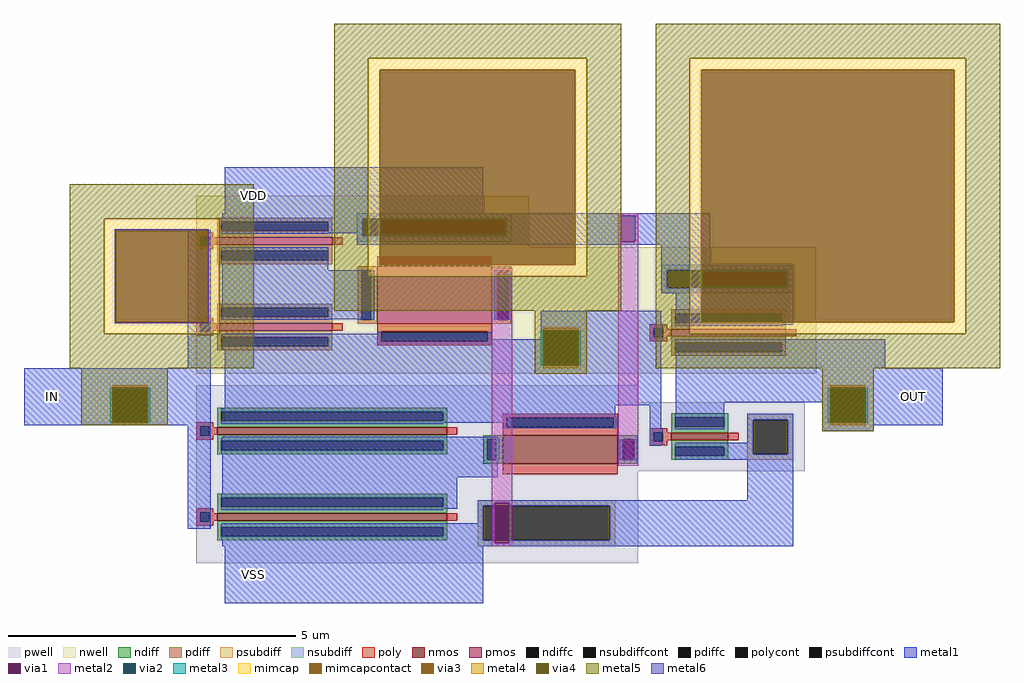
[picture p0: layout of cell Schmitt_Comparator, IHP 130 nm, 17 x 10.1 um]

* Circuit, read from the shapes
.subckt Schmitt_Comparator VSS VDD IN OUT
XM1 XM3/D IN VSS VSS sg13_lv_nmos w=4u l=0.13u
XM2 XC2/C2 IN XM3/D VSS sg13_lv_nmos w=4u l=0.13u
XM3 VDD XC2/C2 XM3/D VSS sg13_lv_nmos w=0.5u l=2u
XM4 OUT XC2/C2 VSS VSS sg13_lv_nmos w=1u l=0.13u
XM5 XM1/D IN XC2/C2 VDD sg13_lv_pmos w=2u l=0.13u
XM6 VDD IN XM1/D VDD sg13_lv_pmos w=2u l=0.13u
XM7 VSS XC2/C2 XM1/D VDD sg13_lv_pmos w=1u l=2u
XM8 VDD XC2/C2 OUT VDD sg13_lv_pmos w=2u l=0.13u
XC9 XC1/C1 IN cap_cmim w=2u l=2u
XC10 XC2/C1 XC2/C2 cap_cmim w=3.8u l=3.8u
XC11 XC18/C1 OUT cap_cmim w=4.8u l=4.8u
.ends

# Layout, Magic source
magic
tech ihp-sg13g2
magscale 1 2
<< nwell >>
rect 1200 -580 2360 -400
rect 1200 -1020 3360 -580
<< pwell >>
rect 1200 -1120 2740 -1060
rect 1200 -1360 3320 -1120
rect 1200 -1680 2740 -1360
<< psubdiff >>
rect 3120 -1180 3280 -1160
rect 3120 -1300 3140 -1180
rect 3260 -1300 3280 -1180
rect 3120 -1320 3280 -1300
rect 2180 -1480 2660 -1460
rect 2180 -1600 2200 -1480
rect 2640 -1600 2660 -1480
rect 2180 -1620 2660 -1600
<< nsubdiff >>
rect 1760 -480 2300 -460
rect 1760 -540 1780 -480
rect 2280 -540 2300 -480
rect 1760 -560 2300 -540
rect 2820 -660 3280 -640
rect 2820 -720 2840 -660
rect 3260 -720 3280 -660
rect 2820 -740 3280 -720
<< psubdiffcont >>
rect 3140 -1300 3260 -1180
rect 2200 -1600 2640 -1480
<< nsubdiffcont >>
rect 1780 -540 2280 -480
rect 2840 -720 3260 -660
<< metal1 >>
rect 1300 -460 2200 -300
rect 1290 -470 2990 -460
rect 1290 -480 2680 -470
rect 1170 -1000 1250 -520
rect 1290 -530 1780 -480
rect 1760 -540 1780 -530
rect 2280 -540 2680 -480
rect 1760 -560 2680 -540
rect 2730 -560 2990 -470
rect 1760 -570 2990 -560
rect 1290 -660 1660 -580
rect 2820 -640 2990 -570
rect 2820 -660 3280 -640
rect 1290 -830 1820 -660
rect 2820 -720 2840 -660
rect 3260 -720 3280 -660
rect 2820 -740 3280 -720
rect 600 -1200 1250 -1000
rect 1300 -900 2230 -880
rect 2400 -900 2820 -800
rect 2870 -850 3280 -740
rect 1300 -1130 2820 -900
rect 1300 -1190 2660 -1130
rect 1170 -1560 1250 -1200
rect 2270 -1210 2660 -1190
rect 1290 -1380 2250 -1240
rect 2780 -1270 2820 -1130
rect 2870 -1000 3600 -900
rect 2870 -1120 3800 -1000
rect 2870 -1210 3040 -1120
rect 3120 -1180 3280 -1160
rect 3120 -1260 3140 -1180
rect 2870 -1300 3140 -1260
rect 3260 -1300 3280 -1180
rect 3380 -1200 3800 -1120
rect 3380 -1220 3560 -1200
rect 2870 -1320 3280 -1300
rect 1290 -1490 2110 -1380
rect 3120 -1460 3280 -1320
rect 2180 -1470 3280 -1460
rect 2180 -1480 2240 -1470
rect 2290 -1480 3280 -1470
rect 2180 -1540 2200 -1480
rect 1290 -1600 2200 -1540
rect 2640 -1600 3280 -1480
rect 1290 -1610 2240 -1600
rect 2290 -1610 3280 -1600
rect 1290 -1620 3280 -1610
rect 1300 -1820 2200 -1620
<< via1 >>
rect 2680 -560 2730 -470
rect 2240 -1480 2290 -1470
rect 2240 -1600 2290 -1480
rect 2240 -1610 2290 -1600
<< metal2 >>
rect 2670 -470 2740 -460
rect 2670 -560 2680 -470
rect 2730 -560 2740 -470
rect 2230 -1470 2300 -650
rect 2670 -1340 2740 -560
rect 2230 -1610 2240 -1470
rect 2290 -1610 2300 -1470
rect 2230 -1620 2300 -1610
<< metal5 >>
rect 800 -1200 1100 -1000
rect 2380 -1020 2560 -780
rect 3380 -1220 3560 -1000
use sg13_lv_nmos_TAWHPM  sg13_lv_nmos_TAWHPM_0
transform 0 -1 1655 1 0 -1519
box -81 -455 81 455
use via_Y6H4MQ  via_Y6H4MQ_0
transform 1 0 970 0 1 -1130
box -70 -70 70 70
use via_Y6H4MQ  via_Y6H4MQ_1
transform 1 0 2470 0 1 -930
box -70 -70 70 70
use via_Y6H4MQ  via_Y6H4MQ_2
transform 1 0 3470 0 1 -1130
box -70 -70 70 70
use cap_cmim_CETSDE  XC1
transform 1 0 1080 0 1 -680
box -320 -320 320 320
use cap_cmim_GQC5Q8  XC2
transform 1 0 2180 0 1 -300
box -500 -500 500 500
use cap_cmim_V766P8  XC18
transform 1 0 3400 0 1 -400
box -600 -600 600 600
use sg13_lv_pmos_LB6KWR  XM1
transform 0 -1 1455 1 0 -557
box -143 -281 143 255
use sg13_lv_pmos_LB6KWR  XM2
transform 0 -1 1455 1 0 -857
box -143 -281 143 255
use sg13_lv_nmos_TAWHPM  XM3
transform 0 -1 1655 1 0 -1219
box -81 -455 81 455
use sg13_lv_pmos_7Q7ZPS  XM5
transform -1 0 2030 0 -1 -765
box -330 -181 330 155
use sg13_lv_nmos_YCQQPS  XM6
transform 1 0 2468 0 1 -1265
box -268 -105 268 105
use sg13_lv_pmos_LB6KWR  XM7
transform 0 -1 3035 1 0 -877
box -143 -281 143 255
use sg13_lv_nmos_TAAHNM  XM8
transform 0 -1 2935 1 0 -1239
box -81 -155 81 155
<< labels >>
flabel metal1 3600 -1200 3800 -1000 0 FreeSans 256 0 0 0 OUT
port 3 nsew
flabel metal1 600 -1200 800 -1000 0 FreeSans 256 0 0 0 IN
port 2 nsew
flabel metal1 1300 -500 1500 -300 0 FreeSans 256 0 0 0 VDD
port 1 nsew
flabel metal1 1300 -1820 1500 -1620 0 FreeSans 256 0 0 0 VSS
port 0 nsew
<< end >>

# cell sg13_lv_nmos_TAWHPM: kit device sg13_lv_nmos, w 4 l 0.13 m 1 nf 1 diffcov 100 polycov 100 guard 0 glc 1 grc 1 gtc 1 gbc 1 tbcov 100 rlcov 100 topc 1 botc 0 poverlap 0 doverlap 1 lmin 0.13 wmin 0.15 class mosfet compatible {sg13_lv_nmos sg13_hv_nmos} full_metal 1 conn_gates 0 gate_ring 0 doports 1 viasrc 0 viadrn 0 viagate 0 ccols 1 viagb 0 viagr 0 viagl 0 viagt 0

# cell via_Y6H4MQ: kit device via, metalbot metal1 metaltop metal5 nxcuts 2 nycuts 2 orient default pattern none

# cell cap_cmim_CETSDE: kit device cap_cmim, w 2.00 l 2.00 val 7.52 carea 1.50 cperi 0.19 class capacitor compatible {cap_cmim cap_rfcmim} nx 1 ny 1 dummy 0 square 0 lmin 2.00 wmin 2.00 lmax 30.0 wmax 30.0 dc 0 tabwidth 1.0 upcontact 0 bconnect 1 tconnect 1 ccov 100 doports 1

# cell cap_cmim_GQC5Q8: kit device cap_cmim, w 3.8 l 3.8 val 24.548 carea 1.50 cperi 0.19 class capacitor compatible {cap_cmim cap_rfcmim} nx 1 ny 1 dummy 0 square 0 lmin 2.00 wmin 2.00 lmax 30.0 wmax 30.0 dc 0 tabwidth 1.0 upcontact 0 bconnect 1 tconnect 1 ccov 100 doports 1

# cell cap_cmim_V766P8: kit device cap_cmim, w 4.8 l 4.8 val 38.208 carea 1.50 cperi 0.19 class capacitor compatible {cap_cmim cap_rfcmim} nx 1 ny 1 dummy 0 square 0 lmin 2.00 wmin 2.00 lmax 30.0 wmax 30.0 dc 0 tabwidth 1.0 upcontact 0 bconnect 1 tconnect 1 ccov 100 doports 1

# cell sg13_lv_pmos_LB6KWR: kit device sg13_lv_pmos, w 2 l 0.13 m 1 nf 1 diffcov 100 polycov 100 guard 0 glc 1 grc 1 gtc 1 gbc 1 tbcov 100 rlcov 100 topc 1 botc 0 poverlap 0 doverlap 1 lmin 0.13 wmin 0.15 class mosfet compatible {sg13_lv_pmos sg13_hv_pmos} full_metal 1 conn_gates 0 gate_ring 0 ccols 1 viasrc 0 viadrn 0 viagate 0 viagb 0 viagr 0 viagl 0 viagt 0 doports 1

# cell sg13_lv_pmos_7Q7ZPS: kit device sg13_lv_pmos, w 1 l 2 m 1 nf 1 diffcov 100 polycov 100 guard 0 glc 1 grc 1 gtc 1 gbc 1 tbcov 100 rlcov 100 topc 1 botc 0 poverlap 0 doverlap 1 lmin 0.13 wmin 0.15 class mosfet compatible {sg13_lv_pmos sg13_hv_pmos} full_metal 1 conn_gates 0 gate_ring 0 ccols 1 viasrc 0 viadrn 100 viagate 0 viagb 0 viagr 0 viagl 0 viagt 0 doports 1

# cell sg13_lv_nmos_YCQQPS: kit device sg13_lv_nmos, w 0.5 l 2 m 1 nf 1 diffcov 100 polycov 100 guard 0 glc 1 grc 1 gtc 1 gbc 1 tbcov 100 rlcov 100 topc 1 botc 0 poverlap 0 doverlap 1 lmin 0.13 wmin 0.15 class mosfet compatible {sg13_lv_nmos sg13_hv_nmos} full_metal 1 conn_gates 0 gate_ring 0 doports 1 viasrc 100 viadrn 0 viagate 0 ccols 1 viagb 0 viagr 0 viagl 0 viagt 0

# cell sg13_lv_nmos_TAAHNM: kit device sg13_lv_nmos, w 1 l 0.13 m 1 nf 1 diffcov 100 polycov 100 guard 0 glc 1 grc 1 gtc 1 gbc 1 tbcov 100 rlcov 100 topc 1 botc 0 poverlap 0 doverlap 1 lmin 0.13 wmin 0.15 class mosfet compatible {sg13_lv_nmos sg13_hv_nmos} full_metal 1 conn_gates 0 gate_ring 0 doports 1 viasrc 0 viadrn 0 viagate 0 ccols 1 viagb 0 viagr 0 viagl 0 viagt 0
